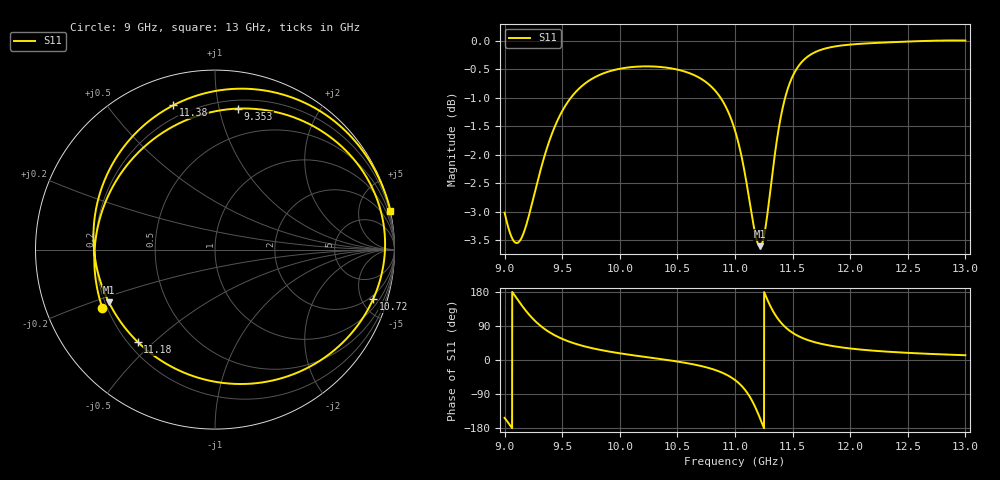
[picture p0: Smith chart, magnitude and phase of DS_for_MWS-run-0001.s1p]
! TOUCHSTONE file generated by CST DESIGN STUDIO
! Date and time: Tue Feb  4 16:00:29 2025
! Project name: C:\Work\MatlabApps\UnitCellOptimizationMatlab\CST\unitcell.cst
! Tree item: Tasks\Sweep1\SPara1\S-Parameters
! Header version: 2024
! Port assignment regex: !\s*Touchstone port\s*([0-9]+)\s*=\s*(CST MWS port|CST DES external port|CST DES block port)\s*(.+)\s* \(\"(.*)\"\)(\s*mode\s*([0-9]+))?.*
! Touchstone port assignment:
! Touchstone port 1 = CST DES external port 1 ("")
# GHz S MA R 50
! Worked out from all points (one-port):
!   4001 points, 9 GHz to 13 GHz, reference 50 ohm
!   lowest |S11| = -3.6 dB at 11.22 GHz (marker M1), VSWR 4.88, Z = 10.8 - j11.2 ohm
!   |S11| at or under -10 dB: nowhere
!   S11 on the Smith chart (normalised r, x): 9 GHz: 0.18, -0.23; 9.353 GHz: 0.27, +1.14; 10.72 GHz: 1.65, -6.14; 11.18 GHz: 0.24, -0.45; 11.38 GHz: 0.14, +0.74; 13 GHz: -0.02, +9.08
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9  0.7064 -152.8
9.094  0.6649 167.5
9.195  0.6929 126.1
9.269  0.7408 101.7
9.353  0.7963 80.6
9.5  0.8675 55.8
9.71  0.9193 34.8
10  0.9451 17.7
10.5  0.9435 -4.0
10.725  0.9235 -17.3
10.885  0.888 -33.0
11  0.8343 -52.8
11.055  0.7931 -67.6
11.109  0.7412 -87.9
11.148  0.701 -107.5
11.184  0.671 -129.9
11.217  0.6601 -153.6
11.252  0.6741 -180.0
11.286  0.7104 155.7
11.333  0.7767 127.4
11.379  0.8369 106.1
11.432  0.8888 88.0
11.5  0.9308 71.8
11.586  0.9597 58.0
11.691  0.9769 47.1
12  0.9925 30.4
12.5  0.9986 18.9
13  1.001 12.6
